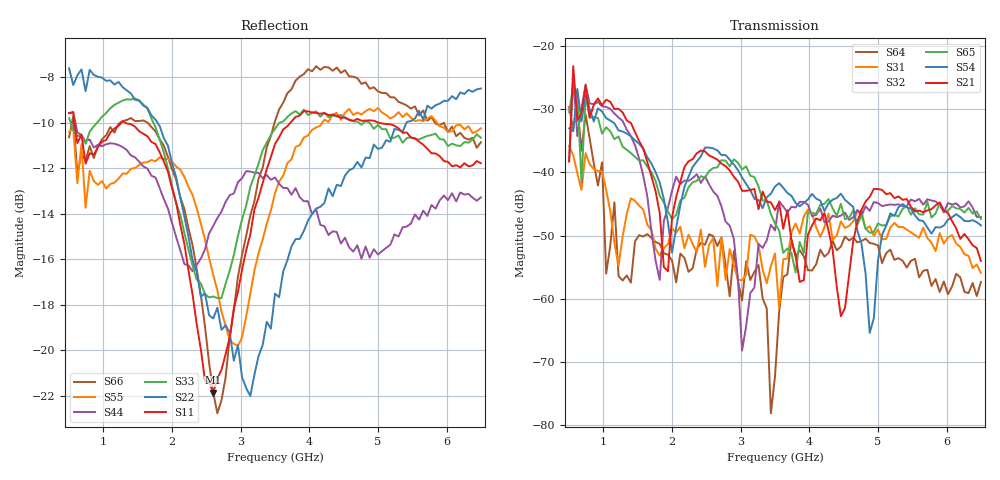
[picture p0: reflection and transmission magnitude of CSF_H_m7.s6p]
!Keysight Technologies,M9804A,MY58100912,A.14.10.03
!Date: Thursday, April 27, 2023 10:28:33
!Correction: S11(C  6-Port  )
!S12(C  6-Port  )
!S13(C  6-Port  )
!S14(C  6-Port  )
!S15(C  6-Port  )
!S16(C  6-Port  )
!S21(C  6-Port  )
!S22(C  6-Port  )
!S23(C  6-Port  )
!S24(C  6-Port  )
!S25(C  6-Port  )
!S26(C  6-Port  )
!S31(C  6-Port  )
!S32(C  6-Port  )
!S33(C  6-Port  )
!S34(C  6-Port  )
!S35(C  6-Port  )
!S36(C  6-Port  )
!S41(C  6-Port  )
!S42(C  6-Port  )
!S43(C  6-Port  )
!S44(C  6-Port  )
!S45(C  6-Port  )
!S46(C  6-Port  )
!S51(C  6-Port  )
!S52(C  6-Port  )
!S53(C  6-Port  )
!S54(C  6-Port  )
!S55(C  6-Port  )
!S56(C  6-Port  )
!S61(C  6-Port  )
!S62(C  6-Port  )
!S63(C  6-Port  )
!S64(C  6-Port  )
!S65(C  6-Port  )
!S66(C  6-Port  )
!S6P File: Measurement: :
# Hz S  RI  R 50
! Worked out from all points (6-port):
!   101 points, 500 MHz to 6.5 GHz, reference 50 ohm
!   strongest paths, dB at 500 MHz, 2 GHz, 3.5 GHz, 5 GHz, 6.5 GHz:
!     S21: -38.3, -47.1, -46.0, -42.6, -54.0
!     S54: -33.0, -52.7, -42.2, -54.0, -48.4
!     S65: -30.5, -47.4, -48.1, -48.1, -47.4
!     S32: -38.2, -42.9, -49.2, -44.8, -47.1
!     S31: -35.9, -48.9, -52.8, -49.0, -55.9
!     S64: -29.6, -53.9, -72.3, -51.6, -57.3
!   lowest |S11| = -21.9 dB at 2.6 GHz (marker M1), VSWR 1.18, Z = 42.8 + j1.97 ohm
!   |S11| at or under -10 dB: 579.9 MHz to 1.26 GHz (679.6 MHz wide, 73.9 % of centre); 1.321 GHz to 3.723 GHz (2.402 GHz wide, 95.2 % of centre); 5.015 GHz to end of sweep
